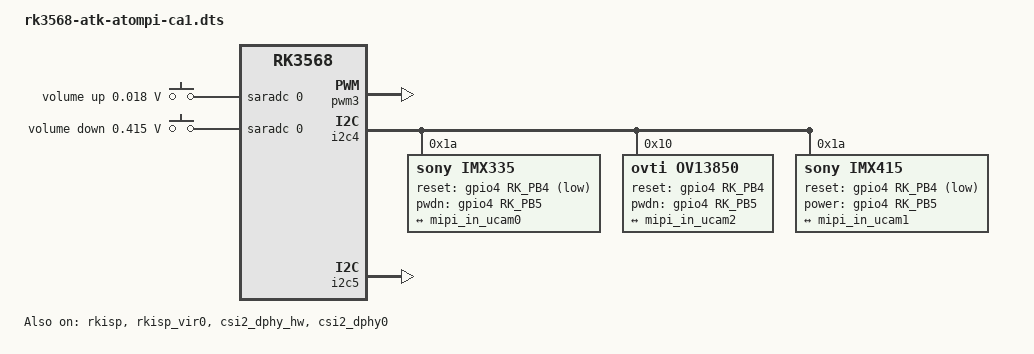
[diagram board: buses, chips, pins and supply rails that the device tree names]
// SPDX-License-Identifier: (GPL-2.0+ OR MIT)
/*
 * Copyright (c) 2020 Rockchip Electronics Co., Ltd.
 *
 */

#include "rk3568-atk-atompi-ca1.dtsi"

/ {
	chosen: chosen {
		bootargs = "earlycon=uart8250,mmio32,0xfe660000 console=ttyFIQ0 root=PARTUUID=614e0000-0000 rw rootwait";
	};

	fiq-debugger {
		compatible = "rockchip,fiq-debugger";
		rockchip,serial-id = <2>;
		rockchip,wake-irq = <0>;
		/* If enable uart uses irq instead of fiq */
		rockchip,irq-mode-enable = <1>;
		rockchip,baudrate = <1500000>;  /* Only 115200 and 1500000 */
		interrupts = <GIC_SPI 252 IRQ_TYPE_LEVEL_LOW>;
		pinctrl-names = "default";
		pinctrl-0 = <&uart2m0_xfer>;
		status = "okay";
	};

	debug: debug@fd904000 {
		compatible = "rockchip,debug";
		reg = <0x0 0xfd904000 0x0 0x1000>,
			<0x0 0xfd905000 0x0 0x1000>,
			<0x0 0xfd906000 0x0 0x1000>,
			<0x0 0xfd907000 0x0 0x1000>;
	};

    cspmu: cspmu@fd90c000 {
		compatible = "rockchip,cspmu";
		reg = <0x0 0xfd90c000 0x0 0x1000>,
			<0x0 0xfd90d000 0x0 0x1000>,
			<0x0 0xfd90e000 0x0 0x1000>,
			<0x0 0xfd90f000 0x0 0x1000>;
	};

	adc_keys: adc-keys {
		compatible = "adc-keys";
		io-channels = <&saradc 0>;
		io-channel-names = "buttons";
		keyup-threshold-microvolt = <1800000>;
		poll-interval = <100>;

		vol-up-key {
			label = "volume up";
			linux,code = <KEY_VOLUMEUP>;
			press-threshold-microvolt = <17822>;
		};

		vol-down-key {
			label = "volume down";
			linux,code = <KEY_VOLUMEDOWN>;
			press-threshold-microvolt = <415385>;
		};
	};

	backlight: backlight {
		compatible = "pwm-backlight";
		status = "disabled";
		pwms = <&pwm5 0 25000 0>;
		brightness-levels = <
			  0  20  20  21  21  22  22  23
			 23  24  24  25  25  26  26  27
			 27  28  28  29  29  30  30  31
			 31  32  32  33  33  34  34  35
			 35  36  36  37  37  38  38  39
			 40  41  42  43  44  45  46  47
			 48  49  50  51  52  53  54  55
			 56  57  58  59  60  61  62  63
			 64  65  66  67  68  69  70  71
			 72  73  74  75  76  77  78  79
			 80  81  82  83  84  85  86  87
			 88  89  90  91  92  93  94  95
			 96  97  98  99 100 101 102 103
			104 105 106 107 108 109 110 111
			112 113 114 115 116 117 118 119
			120 121 122 123 124 125 126 127
			128 129 130 131 132 133 134 135
			136 137 138 139 140 141 142 143
			144 145 146 147 148 149 150 151
			152 153 154 155 156 157 158 159
			160 161 162 163 164 165 166 167
			168 169 170 171 172 173 174 175
			176 177 178 179 180 181 182 183
			184 185 186 187 188 189 190 191
			192 193 194 195 196 197 198 199
			200 201 202 203 204 205 206 207
			208 209 210 211 212 213 214 215
			216 217 218 219 220 221 222 223
			224 225 226 227 228 229 230 231
			232 233 234 235 236 237 238 239
			240 241 242 243 244 245 246 247
			248 249 250 251 252 253 254 255
		>;
		default-brightness-level = <200>;
	};

};

&pwm3 {
	status = "okay";

	compatible = "rockchip,remotectl-pwm";
	remote_pwm_id = <3>;
	handle_cpu_id = <1>;
	remote_support_psci = <1>;
	pinctrl-names = "default";
	pinctrl-0 = <&pwm3_pins>;
	wakeup-source;

	ir_key1 {
		/* 正点原子红外遥控器按键定义: 一共20个按键 */
		wakeup-source;
		rockchip,usercode = <0xFF00>;
		rockchip,key_table =
			<0xba KEY_POWER>,
			<0xb9 KEY_UP>,
			<0xb8 KEY_HOME>,
			<0xbb KEY_REWIND>,
			<0xbf KEY_PLAYPAUSE>,
			<0xbc KEY_FASTFORWARD>,
			<0xf8 KEY_VOLUMEDOWN>,
			<0xea KEY_DOWN>,
			<0xf6 KEY_VOLUMEUP>,
			<0xe9 KEY_1>,
			<0xe6 KEY_2>,
			<0xf2 KEY_3>,
			<0xf3 KEY_4>,
			<0xe7 KEY_5>,
			<0xa1 KEY_6>,
			<0xf7 KEY_7>,
			<0xe3 KEY_8>,
			<0xa5 KEY_9>,
			<0xbd KEY_0>,
			<0xb5 KEY_BACKSPACE>;
	};
};

&soc_thermal {
	trips {
		fan_ctrl_threshold: trip-point-2 {
			temperature = <60000>; //超过60度将启动风扇进行冷却
			hysteresis = <2000>;
			type = "active";
		};
	};
	cooling-maps {
		map2 {
			trip = <&fan_ctrl_threshold>;
			cooling-device = <&fan0 THERMAL_NO_LIMIT THERMAL_NO_LIMIT>;
		};
	};
};

&dsi0 {
	status = "disabled";

	dsi0_panel: panel@0 { //默认是720P屏幕
		status = "disabled";
		compatible = "simple-panel-dsi";
		reg = <0>;
		backlight = <&backlight>;
		power-supply = <&vcc5v0_sys>;
		reset-gpios = <&gpio2 RK_PC1 GPIO_ACTIVE_LOW>;
		pinctrl-names = "default";
		pinctrl-0 = <&mipi_dsi_rst>;
		reset-delay-ms = <100>;
		enable-delay-ms = <60>;
		prepare-delay-ms = <60>;
		unprepare-delay-ms = <60>;
		disable-delay-ms = <60>;
		init-delay-ms = <80>;
		dsi,flags = <(MIPI_DSI_MODE_VIDEO | MIPI_DSI_MODE_VIDEO_BURST |
			MIPI_DSI_MODE_LPM | MIPI_DSI_MODE_EOT_PACKET)>;
		dsi,format = <MIPI_DSI_FMT_RGB888>;
		dsi,lanes  = <4>;
		panel-init-sequence = [ //720p mipi屏参数
			39 00 04 B9 FF 83 94
			39 00 07 BA 63 03 68 6B B2 C0
			//15 00 02 36 01(倒向显示)
			//15 00 02 36 02(正向显示)
			15 00 02 36 01
			39 00 0B B1 48 12 72 09 32 54 71 71 57 47
			39 00 07 B2 00 80 64 0C 0D 2F
			39 00 16 B4 73 74 73 74 73 74 01 0C 86 75 00 3F 73 74 73 74 73 74 01 0C 86
			39 00 03 B6 6E 6E
			39 00 22 D3 00 00 07 07 40 07 0C 00 08 10 08 00 08 54 15 0A 05 0A 02 15 06 05 06 47 44 0A 0A 4B 10 07 07 0C 40
			39 00 2D D5 1C 1C 1D 1D 00 01 02 03 04 05 06 07 08 09 0A 0B 24 25 18 18 26 27 18 18 18 18 18 18 18 18 18 18 18 18 18 18 18 18 20 21 18 18 18 18
			39 00 2D D6 1C 1C 1D 1D 07 06 05 04 03 02 01 00 0B 0A 09 08 21 20 18 18 27 26 18 18 18 18 18 18 18 18 18 18 18 18 18 18 18 18 25 24 18 18 18 18
			39 00 3B E0 00 0A 15 1B 1E 21 24 22 47 56 65 66 6E 82 88 8B 9A 9D 98 A8 B9 5D 5C 61 66 6A 6F 7F 7F 00 0A 15 1B 1E 21 24 22 47 56 65 65 6E 81 87 8B 98 9D 99 A8 BA 5D 5D 62 67 6B 72 7F 7F
			39 00 03 C0 1F 31
			15 00 02 CC 03
			15 00 02 D4 02
			15 00 02 BD 02
			39 00 0D D8 FF FF FF FF FF FF FF FF FF FF FF FF
			15 00 02 BD 00
			15 00 02 BD 01
			15 00 02 B1 00
			15 00 02 BD 00
			39 00 08 BF 40 81 50 00 1A FC 01
			15 00 02 C6 ED
			05 64 01 11
			05 78 01 29
		];

		panel-exit-sequence = [
			05 00 01 28
			05 00 01 10
		];

		disp_timings0: display-timings {
			native-mode = <&dsi0_timing0>;
			dsi0_timing0: timing0 {
				clock-frequency = <65000000>;
				hactive = <720>;
				vactive = <1280>;
				hfront-porch = <48>;
				hsync-len = <8>;
				hback-porch = <52>;
				vfront-porch = <16>;
				vsync-len = <6>;
				vback-porch = <15>;
				hsync-active = <0>;
				vsync-active = <0>;
				de-active = <0>;
				pixelclk-active = <0>;
			};
		};

		ports {
			#address-cells = <1>;
			#size-cells = <0>;

			port@0 {
				reg = <0>;
				panel_in_dsi: endpoint {
					remote-endpoint = <&dsi_out_panel>;
				};
			};
		};
	};

	ports {
		#address-cells = <1>;
		#size-cells = <0>;

		port@1 {
			reg = <1>;
			dsi_out_panel: endpoint {
				remote-endpoint = <&panel_in_dsi>;
			};
		};
	};
};

&dsi0_in_vp1 {
	status = "disabled";
};

&route_dsi0 {
	connect = <&vp1_out_dsi0>;
	status = "disabled";
};

&video_phy0 {
	status = "disabled";
};

&rkisp {
	status = "okay";
};

&rkisp_mmu {
	status = "okay";
};

&rkisp_vir0 {
	status = "okay";

	port {
		#address-cells = <1>;
		#size-cells = <0>;

		isp0_in: endpoint@0 {
			reg = <0>;
			remote-endpoint = <&csidphy_out>;
		};
	};
};

&csi2_dphy_hw {
	status = "okay";
};

&csi2_dphy0 {
	status = "okay";

	ports {
		#address-cells = <1>;
		#size-cells = <0>;
		port@0 {
			reg = <0>;
			#address-cells = <1>;
			#size-cells = <0>;

			mipi_in_ucam0: endpoint@1 {
				reg = <1>;
				remote-endpoint = <&imx335_out>;
				data-lanes = <1 2 3 4>;
			};
			mipi_in_ucam1: endpoint@2 {
				reg = <2>;
				remote-endpoint = <&imx415_out>;
				data-lanes = <1 2 3 4>;
			};
			mipi_in_ucam2: endpoint@3 {
				reg = <3>;
				remote-endpoint = <&ov13850_out>;
				data-lanes = <1 2 3 4>;
			};
		};
		port@1 {
			reg = <1>;
			#address-cells = <1>;
			#size-cells = <0>;

			csidphy_out: endpoint@0 {
				reg = <0>;
				remote-endpoint = <&isp0_in>;
			};
		};
	};
};

&i2c4 {
	status = "okay";

	imx335: imx335@1a {
		status = "okay";
		compatible = "sony,imx335";
		reg = <0x1a>;
		clocks = <&cru CLK_CIF_OUT>;
		clock-names = "xvclk";
		power-domains = <&power RK3568_PD_VI>;
		pinctrl-names = "rockchip,camera_default";
		pinctrl-0 = <&cif_clk>;
		reset-gpios = <&gpio4 RK_PB4 GPIO_ACTIVE_LOW>;
		pwdn-gpios = <&gpio4 RK_PB5 GPIO_ACTIVE_HIGH>;
		rockchip,camera-module-index = <0>;
		rockchip,camera-module-facing = "back";
		rockchip,camera-module-name = "MTV4-IR-E-P";
		rockchip,camera-module-lens-name = "40IRC-4MP-F16";
		port {
			imx335_out: endpoint {
				remote-endpoint = <&mipi_in_ucam0>;
				data-lanes = <1 2 3 4>;
			};
		};
	};

	ov13850: ov13850@10 {
		compatible = "ovti,ov13850";
		status = "okay";
		reg = <0x10>;
		clocks = <&cru CLK_CIF_OUT>;
		clock-names = "xvclk";
		power-domains = <&power RK3568_PD_VI>;

		/* conflict with csi-ctl-gpios */
		reset-gpios = <&gpio4 RK_PB4 GPIO_ACTIVE_HIGH>;
		pwdn-gpios = <&gpio4 RK_PB5 GPIO_ACTIVE_HIGH>;
		pinctrl-names = "rockchip,camera_default";
		pinctrl-0 = <&cif_clk>;
		rockchip,camera-module-index = <0>;
		rockchip,camera-module-facing = "back";
		rockchip,camera-module-name = "ZC-OV13850R2A-V1";
		rockchip,camera-module-lens-name = "Largan-50064B31";

		port {
			ov13850_out: endpoint {
				remote-endpoint = <&mipi_in_ucam2>;
				data-lanes = <1 2 3 4>;
			};
		};
	};

	imx415: imx415@1a {
		status = "okay";
		compatible = "sony,imx415";
		reg = <0x1a>;
		clocks = <&cru CLK_CIF_OUT>;
		clock-names = "xvclk";
		power-domains = <&power RK3568_PD_VI>;
		pinctrl-names = "rockchip,camera_default";
		pinctrl-0 = <&cif_clk>;
		reset-gpios = <&gpio4 RK_PB4 GPIO_ACTIVE_LOW>;
		power-gpios = <&gpio4 RK_PB5 GPIO_ACTIVE_HIGH>;
		rockchip,camera-module-index = <0>;
		rockchip,camera-module-facing = "back";
		rockchip,camera-module-name = "CMK-OT1522-FG3";
		rockchip,camera-module-lens-name = "CS-P1150-IRC-8M-FAU";
		port {
			imx415_out: endpoint {
				remote-endpoint = <&mipi_in_ucam1>;
				data-lanes = <1 2 3 4>;
			};
		};
	};
};

&i2c5 {
	status = "okay";
	dsi_touch: gt911@14 {
		compatible = "goodix,gt9xx";
		reg = <0x14>;
		pinctrl-names = "default";
		pinctrl-0 = <&touch_gpio>;
		touch-gpio = <&gpio3 RK_PA7 IRQ_TYPE_LEVEL_LOW>;
		reset-gpio = <&gpio3 RK_PB0 GPIO_ACTIVE_HIGH>;
		max-x = <1080>;
		max-y = <1920>;
		tp-size = <911>;
		tp-supply = <&vcc5v0_sys>;
		wakeup-source;
		status = "disabled";
	};
};



&pinctrl {

	dsi {
		mipi_dsi_rst: mipi-dsi-rst {
			rockchip,pins =
				<2 RK_PC1 RK_FUNC_GPIO &pcfg_pull_none>;
		};
	};

	touch {
		touch_gpio: touch-gpio {
			rockchip,pins =
				<3 RK_PA7 RK_FUNC_GPIO &pcfg_pull_up>,
				<3 RK_PB0 RK_FUNC_GPIO &pcfg_pull_none>;
		};
	};

	cam {
		camera_gpios: camera-gpios {
			rockchip,pins =
				<4 RK_PB4 RK_FUNC_GPIO &pcfg_pull_none>,
				<4 RK_PB5 RK_FUNC_GPIO &pcfg_pull_none>;
		};
	};

};
